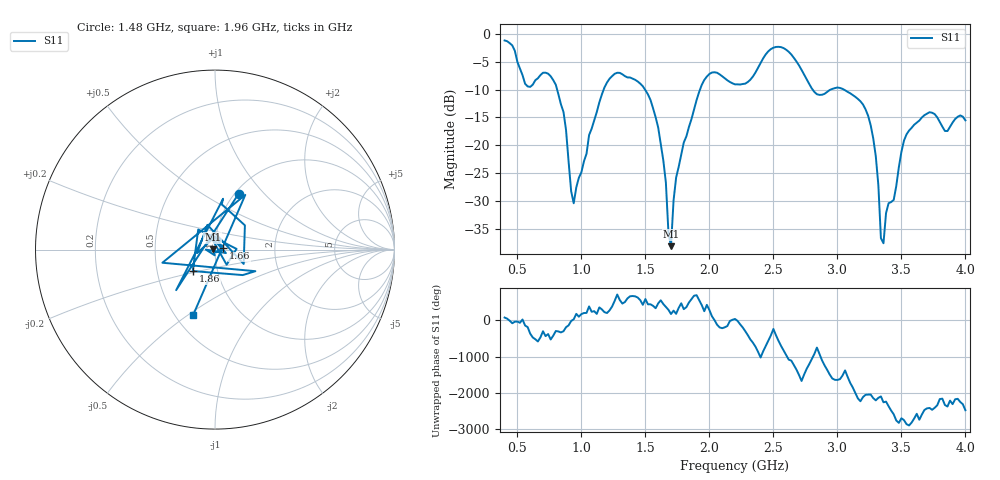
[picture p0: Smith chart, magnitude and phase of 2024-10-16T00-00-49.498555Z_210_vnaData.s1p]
! Created with skrf (http://scikit-rf.org).
# Hz S RI R 50.0
!freq ReS11 ImS11
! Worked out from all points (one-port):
!   181 points, 400 MHz to 4 GHz, reference 50 ohm
!   lowest |S11| = -38.1 dB at 1.7 GHz (marker M1), VSWR 1.03, Z = 48.8 + j0.112 ohm
!   |S11| at or under -10 dB: 810.4 MHz to 1.174 GHz (363.3 MHz wide, 36.6 % of centre); 1.497 GHz to 1.926 GHz (429.1 MHz wide, 25.1 % of centre); 3.051 GHz to end of sweep (the widest 3 of 4)
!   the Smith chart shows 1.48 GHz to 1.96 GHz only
!   S11 on the Smith chart (normalised r, x): 1.48 GHz: 1.04, +0.73; 1.66 GHz: 1.10, +0.02; 1.86 GHz: 0.76, -0.19; 1.96 GHz: 0.61, -0.53
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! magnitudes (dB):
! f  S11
! 400 MHz  -1.2
! 580 MHz  -9.4
! 760 MHz  -7.6
! 860 MHz  -14.0
! 940 MHz  -30.4
! 1.16 GHz  -10.9
! 1.3 GHz  -7.0
! 1.48 GHz  -9.4
! 1.6 GHz  -16.8
! 1.66 GHz  -26.7
! 1.68 GHz  -35.7
! 1.7 GHz  -38.1
! 1.72 GHz  -29.9
! 1.76 GHz  -23.9
! 1.86 GHz  -15.3
! 1.96 GHz  -8.3
! 2.2 GHz  -9.0
! 2.5 GHz  -2.5
! 2.66 GHz  -4.3
! 2.84 GHz  -10.8
! 3.1 GHz  -10.7
! 3.26 GHz  -16.4
! 3.3 GHz  -22.0
! 3.34 GHz  -36.7
! 3.36 GHz  -37.6
! 3.38 GHz  -32.2
! 3.56 GHz  -17.4
! 4 GHz  -15.5
